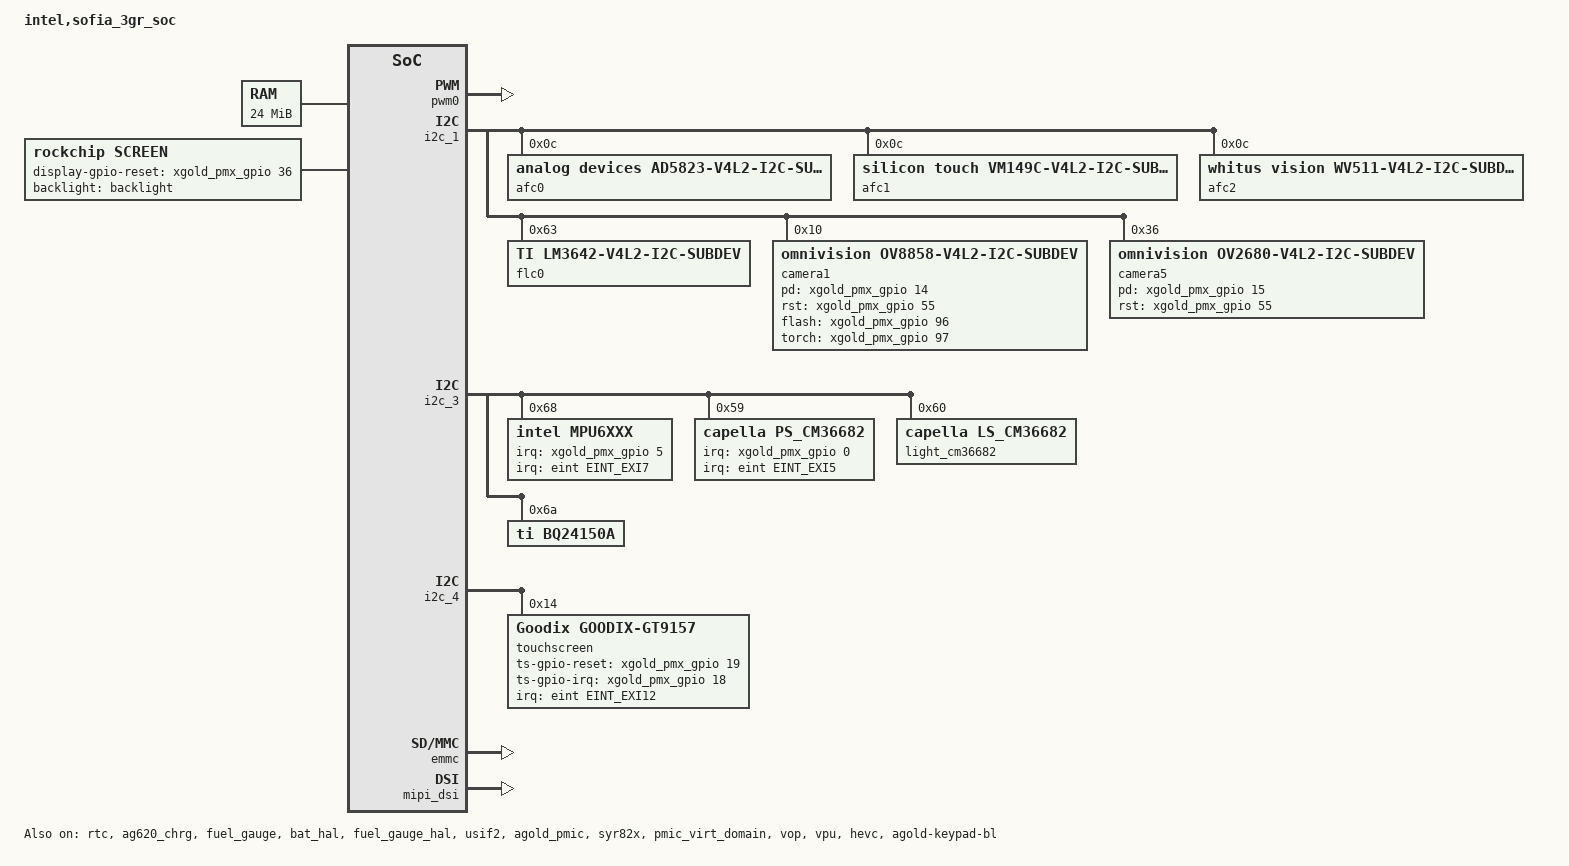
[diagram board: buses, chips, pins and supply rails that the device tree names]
/dts-v1/;

#include "xgold/sofia_3gr_soc/irq.h"
#include <dt-bindings/sensor-dev.h>
#include <dt-bindings/sofiafb/sofia_fb.h>

/ {
	#address-cells = <1>;
	#size-cells = <1>;
	model = "intel,sofia_3gr_soc";
	compatible = "intel,sofia_3gr_soc-svb", "intel,xgold";

	#include "xgold/sofia_3gr_soc/sofia_3gr_soc.dtsi"
	#include "xgold/sofia_3gr_soc/irq.dtsi"
	#include "xgold/mobilevisor/mobilevisor.dtsi"
	#include "xgold/sofia_3gr_soc/clock-es1.dtsi"
	#include "xgold/sofia_3gr_soc/regulator.dtsi"
	#include "xgold/sofia_3gr_soc/device-pm-reg.dtsi"
	#include "xgold/pmic/granite.dtsi"
	#include "xgold/sofia_3gr_soc/cpufreq.dtsi"
	#include "xgold/pmic/agold_pmic.dtsi"
	#include "xgold/pmic/syr82x.dtsi"
	#include "xgold/pmic/pmic_virt_domain.dtsi"
	chosen {
	};

	aliases {
	};

	memory {
		device_type = "memory";
		reg = <0x800000 0x1800000>;
	};

	reserved-memory {
		#address-cells = <1>;
		#size-cells = <1>;
		ranges;

		/* global autoconfigured region for contiguous allocations */
		cma_default_region: region@0 {
			size = <0x08000000>;
			limit = <0x10000000>;
			linux,cma-default;
		};
	};

	vmodem {
		compatible = "intel,vmodem";
		reg = < 0x1D000000 0x02C00000 >;
	};

	ion {
		compatible = "rockchip,ion";
		#address-cells = <1>;
		#size-cells = <0>;
		cma-heap {
			memory-region = <&cma_default_region>;
			rockchip,ion_heap = <4>;
		};
		system-heap {
			rockchip,ion_heap = <0>;
		};
	};

	agold-keypad-bl {
		compatible = "intel,keypad-bl";
		reg = <0xE6501830 0x4>;
		default-brightness-level = <128>;
		status = "okay";
	};
	
	backlight:agold620-backlight {
		compatible = "intel,agold620-led";
		reg = <0xE6501800 0x154>;
		reg-names = "pmu-bl";
		intel,flags-use-safe-ctrl;
		intel,vmm-secured-access;
		pm,class-name = "bl_class";
		pm,user-name = "bl";
		pm,state-D0 = "enable";
		pm,state-D3 = "disable";
		intel,led-k2 = <0x143>;
		intel,led-k1max = <0x120>;
		intel,led-k2max = <0xFFFF>;
		intel,led-up = <0x00104>;
		intel,led-down = <0x200>;
		intel,led-safe = <0x12>;
	};

	hallsensor {
		compatible = "hall_och165t";
	  	interrupt-parent = <&eint>;
	  	interrupts = <EINT_EXI11 XGOLD_IRQ_TYPE_EDGE_FALLING>;
	  	pinctrl-names = "default", "sleep", "inactive";
	  	pinctrl-0 = <&hall_default_pins>;
	  	pinctrl-1 = <&hall_sleep_pins>;
	  	pinctrl-2 = <&hall_inactive_pins>;
		irq-gpio = <&xgold_pmx_gpio 32 IRQ_TYPE_LEVEL_LOW>;
		status = "disabled";
	};

	fb {
		compatible = "rockchip,fb";
		rockchip,disp-mode = <NO_DUAL>;
		rockchip,loader-logo-on = <1>;
		rockchip,ion-drv = "rockchip";
	};

	loader-charge {
		compatible = "rockchip,loader-charge";
		rockchip,loader-charge-on = <1>;
		rockchip,loader-weak-volt = <3600>;
		rockchip,loader-weak-volt-dcp = <3800>;
		rockchip,loader-weak-volt-sdp = <3650>;
		rockchip,android-charge-on = <1>;
	};

	screen {
		compatible = "rockchip,screen","intel,screen";
		pm,class-name = "generic_class";
		pm,user-name = "lcd";
		pm,state-D0 = "enable";
		pm,state-D3 = "disable";
		backlight = <&backlight>;
		intel,display-gpio-reset = <&xgold_pmx_gpio 36 0>;

		#include "xgold/display/lcd-mipi_nt35596.dtsi"
	};

	chrg_det: chrg_det {
		compatible = "sofia,chrg_det";
		status = "okay";
	};

#ifndef RECOVERY_KERNEL
	sound {
		compatible = "intel,xgold-snd-asoc";
		intel,audio-codec = < &afe >;
		intel,pcm-audio = <&pcm_music>;
		intel,pcm-voice = <&pcm_voice>;
		intel,speech = <&speech_probe>;
		intel,jack = <&headset>;
	};
#endif

};

&idi_per {
	#include "xgold/agold620/agold620.dtsi"
};
&rtc {
	status = "okay";
};
&ag620_chrg {
	status = "okay";
};
&fuel_gauge {
	status = "okay";
};
&bat_hal {
	status = "okay";
	#define BAT_TYPE_LC 0
	#define POWER_SUPPLY_TECHNOLOGY_LION 2

	supp_batids =  < 0 BAT_TYPE_LC >;

	supp_batids-map = "standrd";

	prof-standrd = < POWER_SUPPLY_TECHNOLOGY_LION /*battery_type*/
				  2000 /*capacity*/
				  4250 /*voltage_max*/
				  82 /*chrg_term_ma*/
				  3200 /*low_batt_mv*/
				  60 /*disch_tmp_ul*/
				  0xffffffec /*disch_tmp_ll (-20)*/
				  0 /*min_temp*/
				  3 /*min_temp_restart*/
				  42 /*max_temp_restart*/ >;

	prof-standrd-cap_to_vbat_ocv = <
		3300 3420 3506 3530 3575 3599 3620 3630 3645 3658
		3671 3674 3676 3681 3687 3701 3710 3714 3719 3723
		3728 3730 3733 3736 3740 3746 3750 3755 3757 3760
		3762 3764 3766 3768 3770 3772 3775 3778 3780 3782
		3784 3787 3789 3792 3793 3794 3796 3798 3802 3805
		3808 3812 3817 3823 3825 3827 3833 3842 3851 3856
		3860 3865 3871 3880 3883 3903 3907 3914 3920 3926
		3932 3940 3948 3954 3958 3962 3970 3979 3985 3990
		3994 4000 4010 4018 4020 4032 4040 4049 4058 4065
		4073 4082 4090 4099 4107 4118 4125 4136 4147 4158
		4169 >;


	prof-standrd-ntemp_ranges = <1>;

	prof-standrd-temp_range0 = < 45 /*max_temp*/
					     4160 /*full_chrg_vol*/
					     850 /*full_chrg_cur*/
					     98 /*charging_res_cap*/
					     4160 /*maint_chrg_vol_ul*/
					     850 /*maint_chrg_cur*/ >;

	nprofiles = <1>;
};
&brown_out {
	status = "okay";
};
&fuel_gauge_hal {
	status = "okay";
	sense_resistor_mohm = <20>;
	gain_error_1_uc_per_mc = <30>;
	gain_error_2_uc_per_mc = <30>;
};


&abb_pmx_gpio {
       intel,gpiochip-base = <107>;
};

&usif1 {
	pinctrl-names = "default", "sleep", "inactive";
	pinctrl-0 = <&usif1_function_C_active_pins>;
	pinctrl-1 = <&usif1_function_C_sleep_pins>;
	pinctrl-2 = <&usif1_function_C_inactive_pins>;
	status = "disabled";
};

&usif2 {
	pinctrl-names = "default", "sleep", "inactive";
	pinctrl-0 = <&usif2_default_pins>;
	pinctrl-1 = <&usif2_sleep_pins>;
	pinctrl-2 = <&usif2_inactive_pins>;
	status = "okay";
};

&pwm0 {
	pinctrl-names = "default", "sleep", "inactive";
	pinctrl-0 = <&pwm0_default_pins>;
	pinctrl-1 = <&pwm0_sleep_pins>;
	pinctrl-2 = <&pwm0_inactive_pins>;
	status = "okay";
};

/* xuhf@rock-chips.com: modify dts for Compatibling with a variety of cameras */
&i2c_1 {
	status = "okay";
	pinctrl-names = "default", "sleep", "inactive";
	pinctrl-0 = <&i2c1_default_pins>;
	pinctrl-1 = <&i2c1_sleep_pins>;
	pinctrl-2 = <&i2c1_inactive_pins>;

#ifndef RECOVERY_KERNEL
	afc0: af-controller@0 {
		//status = "disabled";
		compatible = "analog devices,ad5823-v4l2-i2c-subdev";
		reg = < 0x0C >;
	};

	afc1: af-controller@1 {
		//status = "disabled";
		compatible = "silicon touch,vm149C-v4l2-i2c-subdev";
		reg = < 0x0c >;
	};

	afc2: af-controller@2 {
		//status = "disabled";
		compatible = "whitus vision,wv511-v4l2-i2c-subdev";
		reg = < 0x0C >;
	};
	
#endif

#ifndef RECOVERY_KERNEL
	flc0:fl-controller@0 {
		//status = "disabled";
		compatible = "TI,lm3642-v4l2-i2c-subdev";
		reg = < 0x63 >;
	};
#endif

#ifndef RECOVERY_KERNEL
	camera0: camera-module@0 {
		status = "disabled";
		compatible = "omnivision,ov13850-v4l2-i2c-subdev";
		reg = < 0x10 >;/*addr is 0x6C when SID set 0,else is 0x20*/ 
		device_type = "v4l2-i2c-subdev";

		pinctrl-names = "default", "sleep", "inactive";
		pinctrl-0 = <&cam1_default_pins>;
		pinctrl-1 = <&cam1_sleep_pins>;
		pinctrl-2 = <&cam1_inactive_pins>;

		intel,pd-gpio = <&xgold_pmx_gpio 14 0>;
		intel,pd-gpio-is_active_high;
		intel,rst-gpio = <&xgold_pmx_gpio 55 0>;
		intel,rst-gpio-is_active_high;
		intel,flash-gpio = <&xgold_pmx_gpio 96 0>;
		intel,torch-gpio = <&xgold_pmx_gpio 97 0>;

		pm,class-name = "generic_class";
		pm,user-name = "primcam";
		pm,state-D0 = "enable";
		pm,state-D3 = "disable";


		intel,camera-module-facing = "back";
		intel,camera-module-mounting = "landscape";
		intel,camera-module-flash-support = <1>;
		intel,camera-module-flash-exp-time = <5000>;

		//intel,af-ctrl = <&afc0>;
		intel,camera-module-csi-config-0 {
			intel,csi-pixels-per-second = <0>;
			intel,csi-vc = <0>;
			intel,csi-lanes = <2>;
			intel,csi-dphy1 = <0x2014203>;
			intel,csi-dphy2 = <0x00>;
			intel,csi-ana-bandgap-bias = <3>;
			intel,csi-used = <0>;
		};
		intel,camera-module-csi-config-1 {
			intel,csi-pixels-per-second = <100000000>;
			intel,csi-vc = <0>;
			intel,csi-lanes = <4>;
			intel,csi-dphy1 = <0x600e241>;
			intel,csi-dphy2 = <0x00>;
			intel,csi-ana-bandgap-bias = <3>;
			intel,csi-used = <0>;
		};
	};
#endif

#ifndef RECOVERY_KERNEL
	camera1: camera-module@1 {
		//status = "disabled";
		compatible = "omnivision,OV8858-v4l2-i2c-subdev";
		reg = < 0x10 >;/*addr is 0x6C when SID set 0,else is 0x20*/
		device_type = "v4l2-i2c-subdev";

		pinctrl-names = "default", "sleep", "inactive";
		pinctrl-0 = <&cam1_default_pins>;
		pinctrl-1 = <&cam1_sleep_pins>;
		pinctrl-2 = <&cam1_inactive_pins>;

		intel,pd-gpio = <&xgold_pmx_gpio 14 0>;
		intel,pd-gpio-is_active_high;
		intel,rst-gpio = <&xgold_pmx_gpio 55 0>;
		intel,rst-gpio-is_active_high;
		intel,flash-gpio = <&xgold_pmx_gpio 96 0>;
		intel,torch-gpio = <&xgold_pmx_gpio 97 0>;
		intel.flash-driver = "LM3642";
		intel,fl-ctrl = <&flc0>;
		
		pm,class-name = "generic_class";
		pm,user-name = "primcam";
		pm,state-D0 = "enable";
		pm,state-D3 = "disable";

		intel,camera-module-facing = "back";
		intel,camera-module-mounting = "landscape";
		intel,camera-module-flash-support = <1>;
		intel,camera-module-flash-exp-time = <5000>;
		rockchip,camera-module-name = "cmk-cb0695-fv1";
		rockchip,camera-module-len-name = "lg9569a2";

		intel,af-ctrl = <&afc1>;
		intel,camera-module-csi-config-0 {
			intel,csi-pixels-per-second = <0>;
			intel,csi-vc = <0>;
			intel,csi-lanes = <4>;
			intel,csi-dphy1 = <0x610a203>;
			intel,csi-dphy2 = <0x00>;
			intel,csi-ana-bandgap-bias = <3>;
			intel,csi-used = <0>;
		};
	};
#endif

#ifndef RECOVERY_KERNEL
	camera2: camera-module@2 {
		status = "disabled";
		compatible = "omnivision,OV5648-v4l2-i2c-subdev";
		reg = < 0x36 >;/*addr is 0x6C when SID set 0,else is 0x20*/
		device_type = "v4l2-i2c-subdev";

		pinctrl-names = "default", "sleep", "inactive";
		pinctrl-0 = <&cam1_default_pins>;
		pinctrl-1 = <&cam1_sleep_pins>;
		pinctrl-2 = <&cam1_inactive_pins>;

		intel,pd-gpio = <&xgold_pmx_gpio 14 0>;
		intel,pd-gpio-is_active_high;
		intel,rst-gpio = <&xgold_pmx_gpio 55 0>;
		intel,rst-gpio-is_active_high;
		intel,flash-gpio = <&xgold_pmx_gpio 96 0>;
		intel,torch-gpio = <&xgold_pmx_gpio 97 0>;
		intel.flash-driver = "LM3642";
		intel,fl-ctrl = <&flc0>;

		pm,class-name = "generic_class";
		pm,user-name = "primcam";
		pm,state-D0 = "enable";
		pm,state-D3 = "disable";

		intel,camera-module-facing = "back";
		intel,camera-module-mounting = "landscape";
		intel,camera-module-flash-support = <1>;
		intel,camera-module-flash-exp-time = <5000>;
		rockchip,camera-module-name = "cmk-cw2392-fv1";
		rockchip,camera-module-len-name = "m5101";

		intel,af-ctrl = <&afc1>;
		intel,camera-module-csi-config-0 {
			intel,csi-pixels-per-second = <0>;
			intel,csi-vc = <0>;
			intel,csi-lanes = <2>;
			intel,csi-dphy1 = <0x6208203>;
			intel,csi-dphy2 = <0x00>;
			intel,csi-ana-bandgap-bias = <3>;
			intel,csi-used = <0>;
		};
	};
#endif

#ifndef RECOVERY_KERNEL
	camera3: camera-module@3 {
		status = "disabled";
		compatible = "superpix,sp2508-v4l2-i2c-subdev";
		reg = < 0x3c >;
		device_type = "v4l2-i2c-subdev";

		pinctrl-names = "default", "sleep", "inactive";
		pinctrl-0 = <&cam1_default_pins>;
		pinctrl-1 = <&cam1_sleep_pins>;
		pinctrl-2 = <&cam1_inactive_pins>;

		intel,pd-gpio = <&xgold_pmx_gpio 14 0>;
		intel,pd-gpio_1v2 = <&xgold_pmx_gpio 68 0>;
		intel,pd-gpio-is_active_low;
		intel,rst-gpio = <&xgold_pmx_gpio 55 0>;
		intel,rst-gpio-is_active_low;
		intel,flash-gpio = <&xgold_pmx_gpio 37 0>;
		intel,torch-gpio = <&xgold_pmx_gpio 38 0>;
		intel.flash-driver = "FP6773C";

		pm,class-name = "generic_class";
		pm,user-name = "primcam";
		pm,state-D0 = "enable";
		pm,state-D3 = "disable";

		/* ["front","back"] */
		intel,camera-module-facing = "back";
		/* ["landscape","landscape-flipped","portrait","portrait-flipped"] */
		intel,camera-module-mounting = "landscape";
		intel,camera-module-flash-support = <1>;
		intel,camera-module-flash-exp-time = <5000>;

		intel,camera-module-csi-config-0 {
			intel,csi-pixels-per-second = <0>;
			intel,csi-vc = <0>;
			intel,csi-lanes = <1>;
			intel,csi-dphy1 = <0x608a241>;
			intel,csi-dphy2 = <0x00>;
			intel,csi-ana-bandgap-bias = <3>;
			intel,csi-used = <0>;
		};
	};
#endif

#ifndef RECOVERY_KERNEL
	camera4: camera-module@4 {
		status = "disabled";
		compatible = "galaxycore,gc2155-v4l2-i2c-subdev";
		reg = < 0x3C >;/*addr is 0x6C when SID set 0,else is 0x20*/ 
		device_type = "v4l2-i2c-subdev";
		pinctrl-names = "default", "sleep", "inactive";
		pinctrl-0 = <&cam1_default_pins>;
		pinctrl-1 = <&cam1_sleep_pins>;
		pinctrl-2 = <&cam1_inactive_pins>;

		intel,pd-gpio = <&xgold_pmx_gpio 14 0>;
		intel,pd-gpio-is_active_low;
		intel,rst-gpio = <&xgold_pmx_gpio 55 0>;
		intel,rst-gpio-is_active_high;
		//intel,pd-gpio_1v2 = <&xgold_pmx_gpio 68 0>;
		intel,flash-gpio = <&xgold_pmx_gpio 37 0>;
		intel,torch-gpio = <&xgold_pmx_gpio 38 0>;

		pm,class-name = "generic_class";
		pm,user-name = "primcam";
		pm,state-D0 = "enable";
		pm,state-D3 = "disable";

		/* ["front","back"] */
		intel,camera-module-facing = "back";
		/* ["landscape","landscape-flipped","portrait","portrait-flipped"] */
		intel,camera-module-mounting = "landscape";
		intel,camera-module-flash-support = <1>;
		intel,camera-module-flash-exp-time = <5000>;

		intel,camera-module-csi-config-0 {
			intel,csi-pixels-per-second = <0>;
			intel,csi-vc = <0>;
			intel,csi-lanes = <2>;
			intel,csi-dphy1 = <0x2014203>;
			intel,csi-dphy2 = <0x00>;
			intel,csi-ana-bandgap-bias = <3>;
			intel,csi-used = <0>;
		};
		intel,camera-module-csi-config-1 {
			intel,csi-pixels-per-second = <100000000>;
			intel,csi-vc = <0>;
			intel,csi-lanes = <4>;
			intel,csi-dphy1 = <0x600e241>;
			intel,csi-dphy2 = <0x00>;
			intel,csi-ana-bandgap-bias = <3>;
			intel,csi-used = <0>;
		};
	};
#endif

#ifndef RECOVERY_KERNEL
	camera5: camera-module@5 {
		//status = "disabled";
		compatible = "omnivision,ov2680-v4l2-i2c-subdev";
		reg = < 0x36 >;/*addr is 0x6C when SID set 0,else is 0x20*/
		device_type = "v4l2-i2c-subdev";

		pinctrl-names = "default", "sleep", "inactive";
		pinctrl-0 = <&cam2_default_pins>;
		pinctrl-1 = <&cam2_sleep_pins>;
		pinctrl-2 = <&cam2_inactive_pins>;

		intel,pd-gpio = <&xgold_pmx_gpio 15 0>;
		intel,pd-gpio-is_active_high;
		intel,rst-gpio = <&xgold_pmx_gpio 55 0>;
		intel,rst-gpio-is_active_high;

		pm,class-name = "generic_class";
		pm,user-name = "seccam";
		pm,state-D0 = "enable";
		pm,state-D3 = "disable";

		intel,camera-module-facing = "front";
		intel,camera-module-mounting = "landscape";
		intel,camera-module-flash-support = <1>;
		intel,camera-module-flash-exp-time = <5000>;
		rockchip,camera-module-name = "cmk-cb0695-fv1";
		rockchip,camera-module-len-name = "cht835b";

		intel,camera-module-csi-config-0 {
			intel,csi-pixels-per-second = <0>;
			intel,csi-vc = <0>;
			intel,csi-lanes = <1>;
			intel,csi-dphy1 = <0x6284203>;
			intel,csi-dphy2 = <0x00>;
			intel,csi-ana-bandgap-bias = <3>;
			intel,csi-used = <1>;
		};

	};
#endif

#ifndef RECOVERY_KERNEL
	camera6: camera-module@6 {
		status = "disabled";
		compatible = "galaxycore,gc2355-v4l2-i2c-subdev";
		reg = < 0x3C >;/*addr is 0x6C when SID set 0,else is 0x20*/
		device_type = "v4l2-i2c-subdev";
		pinctrl-names = "default", "sleep", "inactive";
		pinctrl-0 = <&cam2_default_pins>;
		pinctrl-1 = <&cam2_sleep_pins>;
		pinctrl-2 = <&cam2_inactive_pins>;

		intel,pd-gpio = <&xgold_pmx_gpio 15 0>;
		intel,pd-gpio-is_active_low;
		intel,rst-gpio = <&xgold_pmx_gpio 55 0>;
		intel,rst-gpio-is_active_high;
		intel,pd-gpio_1v2 = <&xgold_pmx_gpio 68 0>;
		intel,flash-gpio = <&xgold_pmx_gpio 37 0>;
		intel,torch-gpio = <&xgold_pmx_gpio 38 0>;

		pm,class-name = "generic_class";
		pm,user-name = "seccam";
		pm,state-D0 = "enable";
		pm,state-D3 = "disable";

		/* ["front","back"] */
		intel,camera-module-facing = "front";
		/* ["landscape","landscape-flipped","portrait","portrait-flipped"] */
		intel,camera-module-mounting = "landscape";
		intel,camera-module-flash-support = <1>;
		intel,camera-module-flash-exp-time = <5000>;
		rockchip,camera-module-name = "cmk-cw-2392-fv1";
		rockchip,camera-module-len-name = "m206a-201";

		intel,camera-module-csi-config-0 {
			intel,csi-pixels-per-second = <0>;
			intel,csi-vc = <0>;
			intel,csi-lanes = <1>;
			intel,csi-dphy1 = <0x6210203>;
			intel,csi-dphy2 = <0x00>;
			intel,csi-ana-bandgap-bias = <3>;
			intel,csi-used = <1>;
		};
	};
#endif

#ifndef RECOVERY_KERNEL
	camera7: camera-module@7 {
		status = "disabled";
		compatible = "galaxycore,gc0310-v4l2-i2c-subdev";
		reg = < 0x21 >;/* 7bit address*/
		device_type = "v4l2-i2c-subdev";

		pinctrl-names = "default", "sleep", "inactive";
		pinctrl-0 = <&cam2_default_pins>;
		pinctrl-1 = <&cam2_sleep_pins>;
		pinctrl-2 = <&cam2_inactive_pins>;

		intel,pd-gpio = <&xgold_pmx_gpio 15 0>;
		intel,pd-gpio-is_active_low;

		pm,class-name = "generic_class";
		pm,user-name = "seccam";
		pm,state-D0 = "enable";
		pm,state-D3 = "disable";

		intel,camera-module-facing = "front";
		/* ["landscape","landscape-flipped","portrait","portrait-flipped"] */
		intel,camera-module-mounting = "landscape";
		intel,camera-module-flash-support = <1>;
		intel,camera-module-flash-exp-time = <5000>;

		intel,camera-module-csi-config-0 {
			intel,csi-pixels-per-second = <0>;
			intel,csi-vc = <0>;
			intel,csi-lanes = <1>;
			intel,csi-dphy1 = <0x6012229>;
			intel,csi-dphy2 = <0x00>;
			intel,csi-ana-bandgap-bias = <3>;
			intel,csi-used = <1>;
		};
	};
#endif

#ifndef RECOVERY_KERNEL
	camera8: camera-module@8 {
		status = "disabled";
		compatible = "superpix,sp0a20-v4l2-i2c-subdev";
		reg = < 0x21 >;
		device_type = "v4l2-i2c-subdev";

		pinctrl-names = "default", "sleep", "inactive";
		pinctrl-0 = <&cam2_default_pins>;
		pinctrl-1 = <&cam2_sleep_pins>;
		pinctrl-2 = <&cam2_inactive_pins>;

		intel,rst-gpio = <&xgold_pmx_gpio 55 0>;
		intel,rst-gpio-is_active_high;
		intel,pd-gpio = <&xgold_pmx_gpio 15 0>;
		intel,pd-gpio-is_active_low;

		pm,class-name = "generic_class";
		pm,user-name = "seccam";
		pm,state-D0 = "enable";
		pm,state-D3 = "disable";

		intel,camera-module-facing = "front";
		/* ["landscape","landscape-flipped","portrait","portrait-flipped"] */
		intel,camera-module-mounting = "landscape";
		intel,camera-module-flash-support = <1>;
		intel,camera-module-flash-exp-time = <5000>;

		intel,camera-module-csi-config-0 {
			intel,csi-pixels-per-second = <0>;
			intel,csi-vc = <0>;
			intel,csi-lanes = <1>;
			intel,csi-dphy1 = <0x608a241>;
			intel,csi-dphy2 = <0x00>;
			intel,csi-ana-bandgap-bias = <3>;
			intel,csi-used = <1>;
		};
	};
#endif
};

&i2c_3 {
	status = "okay";
	pinctrl-names = "default", "sleep", "inactive";
	pinctrl-0 = <&i2c3_default_pins>;
	pinctrl-1 = <&i2c3_sleep_pins>;
	pinctrl-2 = <&i2c3_inactive_pins>;

	mpu6xxx {
        	compatible = "intel,mpu6xxx";
        	reg = <0x68>;
                interrupt-parent = <&eint>;
                interrupts = < EINT_EXI7 XGOLD_IRQ_TYPE_EDGE_RISING >;
                pinctrl-names = "default", "sleep", "inactive";
                pinctrl-0 = <&gyroscope_default_pins>;
                pinctrl-1 = <&gyroscope_sleep_pins>;
                pinctrl-2 = <&gyroscope_inactive_pins>;
       		mpu-int_config = <0x10>;
       	        mpu-level_shifter = <0>;
        	mpu-orientation = <0 1 0 1 0 0 0 0 1>;
        	orientation-x= <1>;
        	orientation-y= <0>;
        	orientation-z= <0>;
        	irq-gpio = <&xgold_pmx_gpio 5>;
			sec_slave_addr = <0x0d>;
			sec_slave_type = <SECONDARY_SLAVE_TYPE_COMPASS>;
			sec_slave_id = <18>;
			sec_layout = <3>;  //aa 3 -10  			
        	mpu-debug = <1>;
		pm,class-name = "mpu6xxx_class";
		pm,user-name = "gyroscope";
		pm,state-D0 = "enable";
		pm,state-D3 = "disable";
        };
	ps_cm36682 {
          	compatible = "capella,ps_cm36682";
          	reg = <0x59>;
          	type = <SENSOR_TYPE_PROXIMITY>;
	  	interrupt-parent = <&eint>;
	  	interrupts = < EINT_EXI5 XGOLD_IRQ_TYPE_LEVEL_LOW >;
	  	pinctrl-names = "default", "sleep", "inactive";
	  	pinctrl-0 = <&prox_default_pins>;
	  	pinctrl-1 = <&prox_sleep_pins>;
	  	pinctrl-2 = <&prox_inactive_pins>;           
		irq-gpio = <&xgold_pmx_gpio 0 XGOLD_IRQ_TYPE_LEVEL_LOW>;
		irq_enable = <1>;
		poll_delay_ms = <50>;
		capella,ps_close_thd_set = <0xa>;
		capella,ps_away_thd_set = <0x7>;
		capella,ps_conf1_val = <0x033e>;
		capella,ps_conf3_val = <0x3000>;
		layout = <1>;
	  	pm,class-name = "ps_tmd2772_class";
	  	pm,user-name = "gyroscope";
		status = "okay";
   	};
   	light_cm36682 {
          	compatible = "capella,ls_cm36682";
          	reg = <0x60>;
          	type = <SENSOR_TYPE_LIGHT>;            
          	irq_enable = <0>;	/*light not use irq*/
          	poll_delay_ms = <500>;
		capella,ls_cmd = <0x04>; /* ALS_IT=80ms, INT_PERS=2*/
          	layout = <1>;
	  	pm,class-name = "ls_tmd2772_class";
	  	pm,user-name = "gyroscope";
		status = "okay";
   	};
	bq24150a {
                status = "okay";
                compatible = "ti,bq24150a";
                reg = <0x6a>;
                ti,current-limit = <100>;
                ti,weak-battery-voltage = <3400>;
                ti,battery-regulation-voltage = <4200>;
                ti,charge-current = <1250>;
                ti,termination-current = <50>;
                ti,resistor-sense = <68>;

                ti,usb-charger-detection = <&chrg_det>;
		sofia,fuel_gauge = <&fuel_gauge>;
        };
};

&i2c_4 {
	status = "okay";
	pinctrl-names = "default", "sleep", "inactive";
	pinctrl-0 = <&i2c4_default_pins>;
	pinctrl-1 = <&i2c4_sleep_pins>;
	pinctrl-2 = <&i2c4_inactive_pins>;

	touchscreen {
		compatible = "Goodix,Goodix-gt9157";
		reg = < 0x14 >;
		interrupt-parent = <&eint>;
		interrupts = < EINT_EXI12 XGOLD_IRQ_TYPE_EDGE_FALLING >;
		pinctrl-names = "default", "sleep", "inactive";
		pinctrl-0 = <&touch_default_pins>;
		pinctrl-1 = <&touch_sleep_pins>;
		pinctrl-2 = <&touch_inactive_pins>;
		intel,ts-gpio-reset = <&xgold_pmx_gpio 19 0>;
		intel,ts-gpio-irq   = <&xgold_pmx_gpio 18 0>;
		pm,class-name = "gt9xx_class";
		pm,user-name = "tp";
		pm,state-D0 = "enable";
		pm,state-D3 = "disable";
	};
};

&i2c_5 {
	pinctrl-names = "default", "sleep", "inactive";
	pinctrl-0 = <&i2c5_agold_default_pins>;
	pinctrl-1 = <&i2c5_agold_sleep_pins>;
	pinctrl-2 = <&i2c5_agold_inactive_pins>;

};

&agold_pmic {
	status = "okay";
	agold_lmem_reg {
		regulator-name = "ag_lmem";
		regulator-domain = <PMIC_DOMAIN_LMEM>;
		regulator-init-pulldown = <PMIC_PULLDOWN_EN>;
		regulator-init-mode = <PMIC_MODE_OFF_STDBY>;
		regulator-init-voltage = <PMIC_VOLTAGE_1V226>;
	};
};

&syr82x {
	status = "okay";
	regulators {
		syr827_buck_reg: regulator@0 {
			regulator-name = "syr827_buck";
			regulator-domain = <PMIC_DOMAIN_SYR827_VSEL0>;
			regulator-init-pulldown = <PMIC_PULLDOWN_FIXED>;
			regulator-init-mode = <PMIC_MODE_ON>;
			regulator-init-voltage = <PMIC_VOLTAGE_1V20>;
			regulator-slp-mode = <PMIC_MODE_ON>;
			regulator-slp-voltage = <PMIC_VOLTAGE_0V85>;
		};

		syr828_buck_reg: regulator@2 {
			regulator-name = "syr828_buck";
			regulator-domain = <PMIC_DOMAIN_SYR828_VSEL0>;
			regulator-init-pulldown = <PMIC_PULLDOWN_FIXED>;
			regulator-init-mode = <PMIC_MODE_ON>;
			regulator-init-voltage = <PMIC_VOLTAGE_1V20>;
			regulator-slp-mode = <PMIC_MODE_ON>;
			regulator-slp-voltage = <PMIC_VOLTAGE_0V85>;
		};
	};
};

&pmic_virt_domain {
	status = "okay";
	virt_domain {
		vddp_mmc_reg {
			virt-domain = <PMIC_VDDP_MMC>;
			pmu-domain = <PMIC_DOMAIN_LMMC1>;
		};

		vddp_mmc_td_reg {
			virt-domain = <PMIC_VDDP_MMC_TD>;
			pmu-domain = <PMIC_DOMAIN_NOTCFG>;
		};

		vdd_vemmc_reg {
			virt-domain = <PMIC_VDD_VEMMC>;
			pmu-domain = <PMIC_DOMAIN_NOTCFG>;
		};

		vdd_sdio_reg {
			virt-domain = <PMIC_VDD_SDIO>;
			pmu-domain = <PMIC_DOMAIN_NOTCFG>;
		};

		vdd_touchscreen_reg {
			virt-domain = <PMIC_VDD_TOUCHSCREEN>;
			pmu-domain = <PMIC_DOMAIN_NOTCFG>;
		};

		vdd_emic_1v8_io_reg {
			virt-domain = <PMIC_VDD_EMIC_1V8_IO>;
			pmu-domain = <PMIC_DOMAIN_NOTCFG>;
		};

		vdd_mipi_csi_reg {
			virt-domain = <PMIC_VDD_MIPI_CSI>;
			pmu-domain = <PMIC_DOMAIN_NOTCFG>;
		};

		vdd_mipi_dsi_reg {
			virt-domain = <PMIC_VDD_MIPI_DSI>;
			pmu-domain = <PMIC_DOMAIN_LMIPI>;
		};

		vdd_digrf1_reg {
			virt-domain = <PMIC_VDD_DIGRF1>;
			pmu-domain = <PMIC_DOMAIN_LMIPI>;
		};

		vdd_usb_1v1_reg {
			virt-domain = <PMIC_VDD_USB_1V1>;
			pmu-domain = <PMIC_DOMAIN_LAIF>;
		};

		vdd_emic_core_reg {
			virt-domain = <PMIC_VDD_EMIC_CORE>;
			pmu-domain = <PMIC_DOMAIN_NOTCFG>;
		};

		vdd_emic_dll_reg {
			virt-domain = <PMIC_VDD_EMIC_DLL>;
			pmu-domain = <PMIC_DOMAIN_NOTCFG>;
		};

		vdd_idi_rx_reg {
			virt-domain = <PMIC_VDD_IDI_RX>;
			pmu-domain = <PMIC_DOMAIN_LAIF>;
		};

		vdd_usb_3v3_reg {
			virt-domain = <PMIC_VDD_USB_3V3>;
			pmu-domain = <PMIC_DOMAIN_LUSB>;
		};

		vddp_sim_reg {
			virt-domain = <PMIC_VDDP_SIM>;
			pmu-domain = <PMIC_DOMAIN_LSIM1>;
		};

		vddp_sim2_reg {
			virt-domain = <PMIC_VDDP_SIM2>;
			pmu-domain = <PMIC_DOMAIN_LSIM2>;
		};

		vdd_pll_reg {
			virt-domain = <PMIC_VDD_PLL>;
			pmu-domain = <PMIC_DOMAIN_LPLL>;
		};

		vdd_io_volt_touch_sensor_reg {
			virt-domain = <PMIC_VDD_IO_VOLT_TOUCH_SENSOR>;
			pmu-domain = <PMIC_DOMAIN_NOTCFG>;
		};

		vdd_io_volt_proximity_sensor_reg {
			virt-domain = <PMIC_VDD_IO_VOLT_PROXIMITY_SENSOR>;
			pmu-domain = <PMIC_DOMAIN_NOTCFG>;
		};

		vdd_io_volt_accelerometer_reg{
			virt-domain = <PMIC_VDD_IO_VOLT_ACCELEROMETER>;
			pmu-domain = <PMIC_DOMAIN_NOTCFG>;
		};

		vdd_io_volt_magnetometer_reg {
			virt-domain = <PMIC_VDD_IO_VOLT_MAGNETOMETER>;
			pmu-domain = <PMIC_DOMAIN_NOTCFG>;
		};

		vdd_io_volt_gyroscope_reg {
			virt-domain = <PMIC_VDD_IO_VOLT_GYROSCOPE>;
			pmu-domain = <PMIC_DOMAIN_NOTCFG>;
		};

		vdd_cam_prim_analog_reg {
			virt-domain = <PMIC_VDD_CAM_PRIM_ANALOG>;
			pmu-domain = <PMIC_DOMAIN_LAUX1>;
		};

		vdd_cam_sec_analog_reg {
			virt-domain = <PMIC_VDD_CAM_SEC_ANALOG>;
			pmu-domain = <PMIC_DOMAIN_LAUX1>;
		};

		vdd_prim_display_reg {
			virt-domain = <PMIC_VDD_PRIM_DISPLAY>;
			pmu-domain = <PMIC_DOMAIN_NOTCFG>;
		};

		vdd_touch_sensor_reg {
			virt-domain = <PMIC_VDD_TOUCH_SENSOR>;
			pmu-domain = <PMIC_DOMAIN_NOTCFG>;
		};

		vdd_proximity_sensor_reg {
			virt-domain = <PMIC_VDD_PROXIMITY_SENSOR>;
			pmu-domain = <PMIC_DOMAIN_LAUX2>;
		};

		vdd_accelerometer_reg {
			virt-domain = <PMIC_VDD_ACCELEROMETER>;
			pmu-domain = <PMIC_DOMAIN_LAUX2>;
		};

		vdd_magnetometer_reg {
			virt-domain = <PMIC_VDD_MAGNETOMETER>;
			pmu-domain = <PMIC_DOMAIN_LAUX2>;
		};

		vdd_gyroscope_reg {
			virt-domain = <PMIC_VDD_GYROSCOPE>;
			pmu-domain = <PMIC_DOMAIN_LAUX2>;
		};

		vdd_emic_io_reg {
			virt-domain = <PMIC_VDD_EMIC_IO>;
			pmu-domain = <PMIC_DOMAIN_LMEM>;
		};

		vdd_abb_gnss_tcxo_ldo_reg {
			virt-domain = <PMIC_VDD_ABB_GNSS_TCXO_LDO>;
			pmu-domain = <PMIC_DOMAIN_GNSS_TCXO_LDO>;
		};

		vddp_vemmc_p_reg {
			virt-domain = <PMIC_VDDP_VEMMC_P>;
			pmu-domain = <PMIC_DOMAIN_NOTCFG>;
		};

		vdd_cam_prim_digital_reg {
			virt-domain = <PMIC_VDD_CAM_PRIM_DIGITAL>;
			pmu-domain = <PMIC_DOMAIN_NOTCFG>;
		};

		vdd_cam_prim_io_reg {
			virt-domain = <PMIC_VDD_CAM_PRIM_IO>;
			pmu-domain = <PMIC_DOMAIN_LAUX2>;
		};

		vdd_cam_prim_af_reg {
			virt-domain = <PMIC_VDD_CAM_PRIM_AF>;
			pmu-domain = <PMIC_DOMAIN_NOTCFG>;
		};

		vdd_cam_sec_digital_reg {
			virt-domain = <PMIC_VDD_CAM_SEC_DIGITAL>;
			pmu-domain = <PMIC_DOMAIN_NOTCFG>;
		};

		vdd_cam_sec_io_reg {
			virt-domain = <PMIC_VDD_CAM_SEC_IO>;
			pmu-domain = <PMIC_DOMAIN_LAUX2>;
		};

		vdd_cam_sec_af_reg {
			virt-domain = <PMIC_VDD_CAM_SEC_AF>;
			pmu-domain = <PMIC_DOMAIN_NOTCFG>;
		};

		vdd_prim_disp_backlight_reg {
			virt-domain = <PMIC_VDD_PRIM_DISP_BACKLIGHT>;
			pmu-domain = <PMIC_DOMAIN_NOTCFG>;
		};

		vdd_sd_card_reg {
			virt-domain = <PMIC_VDD_SD_CARD>;
			pmu-domain = <PMIC_DOMAIN_NOTCFG>;
		};

		vdd_emmc_reg {
			virt-domain = <PMIC_VDD_EMMC>;
			pmu-domain = <PMIC_DOMAIN_NOTCFG>;
		};

		vdd_vcpu_reg {
			virt-domain = <PMIC_VDD_VCPU>;
			pmu-domain = <PMIC_DOMAIN_SYR827_VSEL0>;
		};

		vdd_lvds_1v8_reg {
			virt-domain = <PMIC_VDD_LVDS_1V8>;
			pmu-domain = <PMIC_DOMAIN_NOTCFG>;
		};

		vdd_h_5v_reg {
			virt-domain = <PMIC_VDD_H_5V>;
			pmu-domain = <PMIC_DOMAIN_NOTCFG>;
		};

		vdd_h_3v3_reg {
			virt-domain = <PMIC_VDD_H_3V3>;
			pmu-domain = <PMIC_DOMAIN_NOTCFG>;
		};

		vdd_gpu_reg {
			virt-domain = <PMIC_VDD_GPU>;
			pmu-domain = <PMIC_DOMAIN_SYR828_VSEL0>;
		};

		vdd_emic_reg_reg {
			virt-domain = <PMIC_VDD_EMIC_RET>;
			pmu-domain = <PMIC_DOMAIN_NOTCFG>;
		};

		vdd_lcd_dsi_reg {
			virt-domain = <PMIC_VDD_LCD_DSI>;
			pmu-domain = <PMIC_DOMAIN_NOTCFG>;
		};

		vdd_gps_2v5_reg {
			virt-domain = <PMIC_VDD_GPS_2V5>;
			pmu-domain = <PMIC_DOMAIN_NOTCFG>;
		};

		vdd_dif_lcd_rgb_reg {
			virt-domain = <PMIC_VDD_DIF_LCD_RGB>;
			pmu-domain = <PMIC_DOMAIN_NOTCFG>;
		};

		vdd_deprecated_reg {
			virt-domain = <PMIC_VDD_DEPRECATED>;
			pmu-domain = <PMIC_DOMAIN_NOTCFG>;
		};
	};
};

&gnss {
    pinctrl-names = "default", "sleep", "inactive", "default_lna", "inactive_lna", "default_fta", "inactive_fta", "gnss_default", "gnss_inactive";
    pinctrl-0 = <&tcxo_agold_default_pins>;
    pinctrl-1 = <&tcxo_agold_sleep_pins>;
    pinctrl-2 = <&tcxo_agold_inactive_pins>;
    pinctrl-3 = <&ext_agold_default_pins>;
    pinctrl-4 = <&ext_agold_sleep_pins>;
    pinctrl-5 = <&gnss_agold_default_pins>;
    pinctrl-6 = <&gnss_agold_sleep_pins>;
    pinctrl-7 = <&gnss_default_pins>;
    pinctrl-8 = <&gnss_inactive_pins>;
};

#ifndef RECOVERY_KERNEL
&afe {
	pinctrl-names = "default", "sleep", "inactive";
	pinctrl-0 = <&dm_agold_default_pins>;
	pinctrl-1 = <&dm_agold_sleep_pins>;
	pinctrl-2 = <&dm_agold_inactive_pins>;
};
#endif

&sd {
	intel,tap_values = <0x080400F5 0x08040004 0x00040004 0x08040004 0x5CF501A5 0x00F500A5 0x00F500A5>;
	pinctrl-names = "default", "sleep", "inactive";
	pinctrl-0 = <&sdmmc_default_pins>;
	pinctrl-1 = <&sdmmc_sleep_pins>;
	pinctrl-2 = <&sdmmc_inactive_pins>;
};

&emmc {
	intel,tap_values = <0x080400F5 0x08040004 0x00040004 0x08040004 0x08040004 0x000400B5 0x000400B5>;
	pinctrl-names = "default", "sleep", "inactive";
	pinctrl-0 = <&emmc_default_pins>;
	pinctrl-1 = <&emmc_sleep_pins>;
	pinctrl-2 = <&emmc_inactive_pins>;
	status = "okay";
};

&nand {
	pinctrl-names = "default", "sleep", "inactive";
	pinctrl-0 = <&nand_function_B_active_pins>;
	pinctrl-1 = <&nand_function_B_sleep_pins>;
	pinctrl-2 = <&nand_function_B_inactive_pins>;
        status = "disabled";
};

&keypad {
	pinctrl-names = "default", "sleep", "inactive";
	pinctrl-0 = <&kp_default_pins>;
	pinctrl-1 = <&kp_sleep_pins>;
	pinctrl-2 = <&kp_inactive_pins>;
	keypad,num-rows = <4>;
	keypad,num-columns = <8>;
	keypad,rows = <3>;
	keypad,columns = <3 4>;
	linux,keymap = <0x03030072	/* KEY_VOLUMEDOWN */
			0x03040073>;	/* KEY_VOLUMEUP */
	keypad,kp_in1 = <116>;	/*KEY_POWER*/	
	keypad,kp_in3 = <115>; /*KEY_VOLUMEUP*/
	keypad,kp_in4 = <114>; /*KEY_VOLUMEDOWN*/
};

&lvds {
	status = "disabled";

	pinctrl-names = "default", "sleep", "inactive";
	pinctrl-0 = <&lvds_default_pins>;
	pinctrl-1 = <&lvds_sleep_pins>;
	pinctrl-2 = <&lvds_inactive_pins>;
};

&mipi_dsi {
	status = "okay";
};

&vop {
	status = "okay";
	rockchip,fb-win-map = <FB_DEFAULT_ORDER>;
	rockchip,iommu-enabled = <1>;
	uhigh_perf_freq = <297000000>;
};

#ifndef RECOVERY_KERNEL
&cif {
	intel,camera-modules-attached = <&camera0 &camera1 &camera2 &camera3 &camera4 &camera5 &camera6 &camera7 &camera8>;
}; /* xuhf@rock-chips.com: modify dts for Compatibling with a variety of cameras */
#endif
#ifndef RECOVERY_KERNEL
&vpu {
	status = "okay";
};
#endif
#ifndef RECOVERY_KERNEL
&hevc {
	status = "okay";
};
#endif
#include "xgold/agold620/pinctrl-ag620-sf_3gr-svb.dtsi"
#include "xgold/sofia_3gr_soc/pinctrl-sf_3gr-phone-rk.dtsi"
&sdmmc_default_pins{
        pinctrl-single,pins = <
                0x294 0x3011    /* sdmmc_cmd */
                0x298 0x3011    /* sdmmc_dat0 */
                0x29c 0x3011    /* sdmmc_dat1 */
                0x2a0 0x3011    /* sdmmc_dat2 */
                0x2a4 0x3011    /* sdmmc_dat3 */
                0x2a8 0x1011    /* sdmmc_clk */
                0x2ac 0x4001    /* sdmmc_card_detect */
        >;
};
